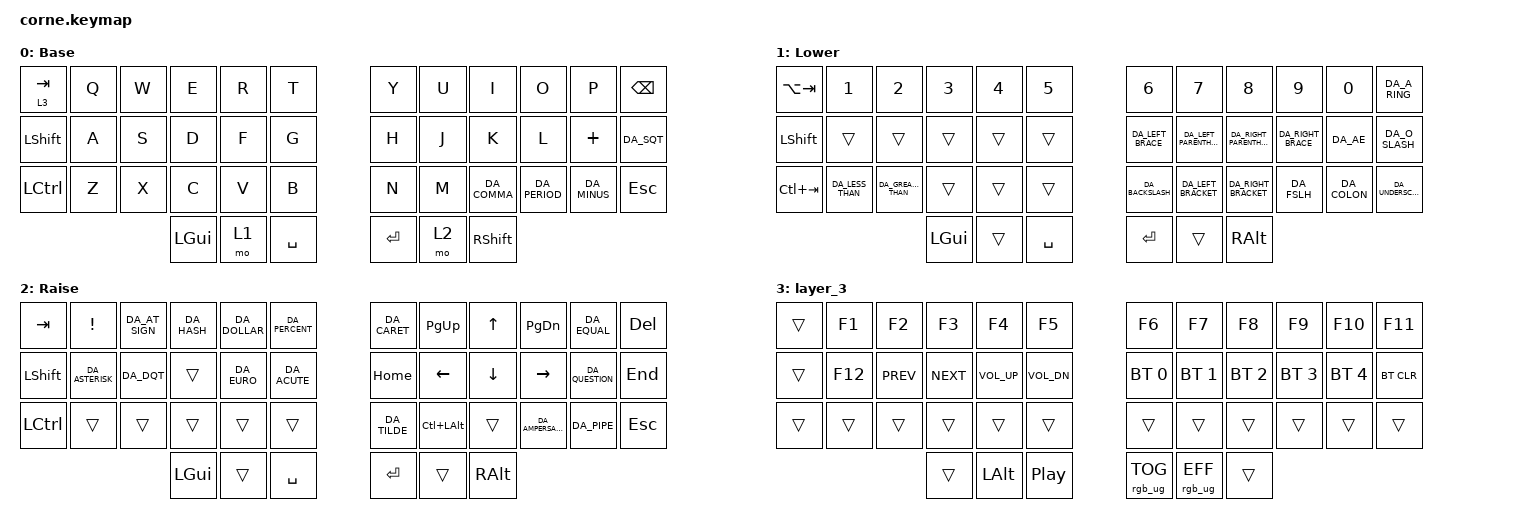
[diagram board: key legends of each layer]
/*
 * Copyright (c) 2020 The ZMK Contributors
 *
 * SPDX-License-Identifier: MIT
 */

#include "keys_da.h"
#include <behaviors.dtsi>
#include <dt-bindings/zmk/bt.h>
#include <dt-bindings/zmk/keys.h>
#include <dt-bindings/zmk/rgb.h>

/ {
    keymap {
        compatible = "zmk,keymap";

        default_layer {
            // -----------------------------------------------------------------------------------------
            // |  TAB |  Q  |  W  |  E  |  R  |  T  |   |  Y  |  U   |  I  |  O  |  P  | BKSP |
            // | CTRL |  A  |  S  |  D  |  F  |  G  |   |  H  |  J   |  K  |  L  |  ;  |  '   |
            // | SHFT |  Z  |  X  |  C  |  V  |  B  |   |  N  |  M   |  ,  |  .  |  /  | ESC  |
            //                    | GUI | LWR | SPC |   | ENT | RSE  | ALT |

            display-name = "Base";
            bindings = <
&lt 3 TAB  &kp Q  &kp W  &kp E     &kp R  &kp T        &kp Y    &kp U  &kp I            &kp O          &kp P         &kp BSPC
&kp LSHFT  &kp A  &kp S  &kp D     &kp F  &kp G        &kp H    &kp J  &kp K            &kp L          &kp PLUS      &kp DA_SQT
&kp LCTRL  &kp Z  &kp X  &kp C     &kp V  &kp B        &kp N    &kp M  &kp DA_COMMA     &kp DA_PERIOD  &kp DA_MINUS  &kp ESC
                         &kp LGUI  &mo 1  &kp SPACE    &kp RET  &mo 2  &kp RIGHT_SHIFT
            >;
        };

        lower_layer {
            // -----------------------------------------------------------------------------------------
            // |  TAB |  1  |  2  |  3  |  4  |  5  |   |  6  |  7  |  8  |  9  |  0  | BKSP |
            // | BTCLR| BT1 | BT2 | BT3 | BT4 | BT5 |   | LFT | DWN |  UP | RGT |     |      |
            // | SHFT |     |     |     |     |     |   |     |     |     |     |     |      |
            //                    | GUI |     | SPC |   | ENT |     | ALT |

            display-name = "Lower";
            bindings = <
&kp LA(TAB)     &kp N1            &kp N2               &kp N3    &kp N4  &kp N5       &kp N6             &kp N7                   &kp N8                    &kp N9              &kp N0        &kp DA_A_RING
&kp LEFT_SHIFT  &trans            &trans               &trans    &trans  &trans       &kp DA_LEFT_BRACE  &kp DA_LEFT_PARENTHESIS  &kp DA_RIGHT_PARENTHESIS  &kp DA_RIGHT_BRACE  &kp DA_AE     &kp DA_O_SLASH
&kp LC(TAB)     &kp DA_LESS_THAN  &kp DA_GREATER_THAN  &trans    &trans  &trans       &kp DA_BACKSLASH   &kp DA_LEFT_BRACKET      &kp DA_RIGHT_BRACKET      &kp DA_FSLH         &kp DA_COLON  &kp DA_UNDERSCORE
                                                       &kp LGUI  &trans  &kp SPACE    &kp RET            &trans                   &kp RIGHT_ALT
            >;
        };

        raise_layer {
            // -----------------------------------------------------------------------------------------
            // |  TAB |  !  |  @  |  #  |  $  |  %  |   |  ^  |  &  |  *  |  (  |  )  | BKSP |
            // | CTRL |     |     |     |     |     |   |  -  |  =  |  [  |  ]  |  \  |  `   |
            // | SHFT |     |     |     |     |     |   |  _  |  +  |  {  |  }  | "|" |  ~   |
            //                    | GUI |     | SPC |   | ENT |     | ALT |

            display-name = "Raise";
            bindings = <
&kp TAB    &kp EXCL         &kp DA_AT_SIGN  &kp DA_HASH  &kp DA_DOLLAR  &kp DA_PERCENT    &kp DA_CARET  &kp PAGE_UP       &kp UP    &kp PAGE_DOWN     &kp DA_EQUAL     &kp DELETE
&kp LSHFT  &kp DA_ASTERISK  &kp DA_DQT      &trans       &kp DA_EURO    &kp DA_ACUTE      &kp HOME      &kp LEFT_ARROW    &kp DOWN  &kp RIGHT         &kp DA_QUESTION  &kp END
&kp LCTRL  &trans           &trans          &trans       &trans         &trans            &kp DA_TILDE  &kp LC(LEFT_ALT)  &trans    &kp DA_AMPERSAND  &kp DA_PIPE      &kp ESC
                                            &kp LGUI     &trans         &kp SPACE         &kp RET       &trans            &kp RALT
            >;
        };

        layer_3 {
            bindings = <
&trans  &kp F1   &kp F2      &kp F3      &kp F4           &kp F5              &kp F6           &kp F7           &kp F8        &kp F9        &kp F10       &kp F11
&trans  &kp F12  &kp C_PREV  &kp C_NEXT  &kp C_VOLUME_UP  &kp C_VOL_DN        &bt BT_SEL 0     &bt BT_SEL 1     &bt BT_SEL 2  &bt BT_SEL 3  &bt BT_SEL 4  &bt BT_CLR
&trans  &trans   &trans      &trans      &trans           &trans              &trans           &trans           &trans        &trans        &trans        &trans
                             &trans      &kp LALT         &kp C_PLAY_PAUSE    &rgb_ug RGB_TOG  &rgb_ug RGB_EFF  &trans
            >;
        };
    };
};
